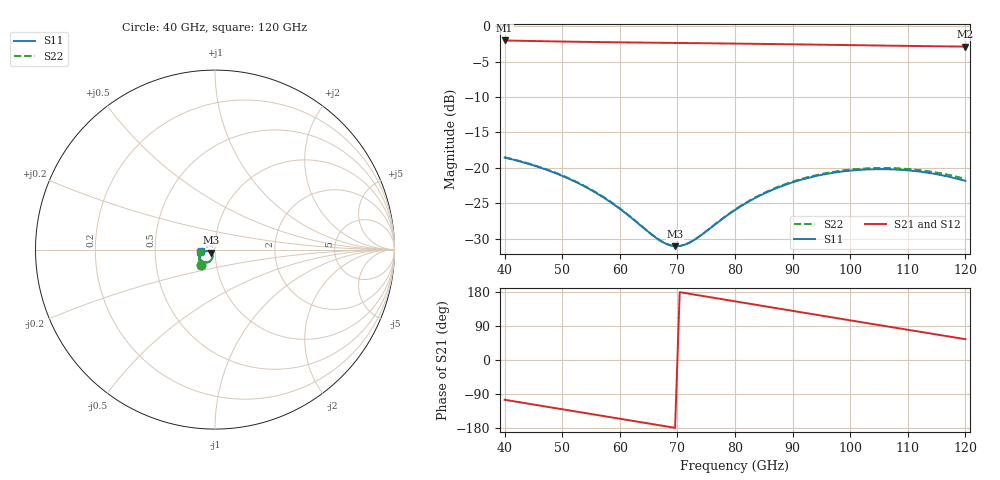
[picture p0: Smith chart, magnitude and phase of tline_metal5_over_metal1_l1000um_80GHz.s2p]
#  GHZ S DB R 50
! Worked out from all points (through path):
!   101 points, 40 GHz to 120 GHz, reference 50 ohm
!   highest |S21| = -2.03 dB at 40 GHz (marker M1); lowest = -2.9 dB at 120 GHz (marker M2)
!   group delay of S21, straight-line fit = 6.96 ps
!   lowest |S11| = -31.0 dB at 69.6 GHz (marker M3), VSWR 1.06, Z = 47.8 - j1.71 ohm
!   |S11| at or under -10 dB: start of sweep to end of sweep
!   |S22| runs from -31.0 to -18.5 dB; largest |S21 - S12| = 8.8e-14
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40  -18.54 -132.6  -2.03 -104.9  -2.03 -104.9  -18.49 -132.5
46.4  -20.01 -148.8  -2.13 -121.0  -2.13 -121.0  -19.95 -148.6
53.6  -22.49 -163.6  -2.22 -139.0  -2.22 -139.0  -22.42 -163.3
57.6  -24.39 -168.8  -2.27 -149.0  -2.27 -149.0  -24.32 -168.5
60.8  -26.26 -169.9  -2.30 -157.0  -2.30 -157.0  -26.19 -169.7
64  -28.38 -166.2  -2.33 -165.0  -2.33 -165.0  -28.32 -166.0
67.2  -30.34 -154.6  -2.35 -173.0  -2.35 -173.0  -30.31 -154.3
69.6  -31.03 -140.5  -2.37 -179.0  -2.37 -179.0  -31.02 -140.0
71.2  -30.85 -130.6  -2.39 177.0  -2.39 177.0  -30.84 -129.9
72.8  -30.21 -122.1  -2.40 172.9  -2.40 172.9  -30.20 -121.3
76  -28.31 -111.7  -2.43 164.9  -2.43 164.9  -28.27 -110.7
80  -25.93 -108.5  -2.47 154.8  -2.47 154.8  -25.87 -107.3
83.2  -24.37 -110.2  -2.50 146.8  -2.50 146.8  -24.29 -109.0
86.4  -23.12 -113.9  -2.53 138.7  -2.53 138.7  -23.03 -112.7
90.4  -21.93 -120.2  -2.57 128.7  -2.57 128.7  -21.82 -118.8
93.6  -21.23 -125.9  -2.61 120.7  -2.61 120.7  -21.11 -124.4
97.6  -20.62 -133.4  -2.65 110.7  -2.65 110.7  -20.49 -131.9
100.8  -20.32 -139.7  -2.69 102.7  -2.69 102.7  -20.18 -138.0
104  -20.19 -146.0  -2.73 94.7  -2.73 94.7  -20.03 -144.2
107.2  -20.20 -152.3  -2.76 86.7  -2.76 86.7  -20.03 -150.4
113.6  -20.69 -164.4  -2.83 70.8  -2.83 70.8  -20.48 -162.2
120  -21.84 -175.3  -2.89 54.9  -2.89 54.9  -21.55 -172.6
